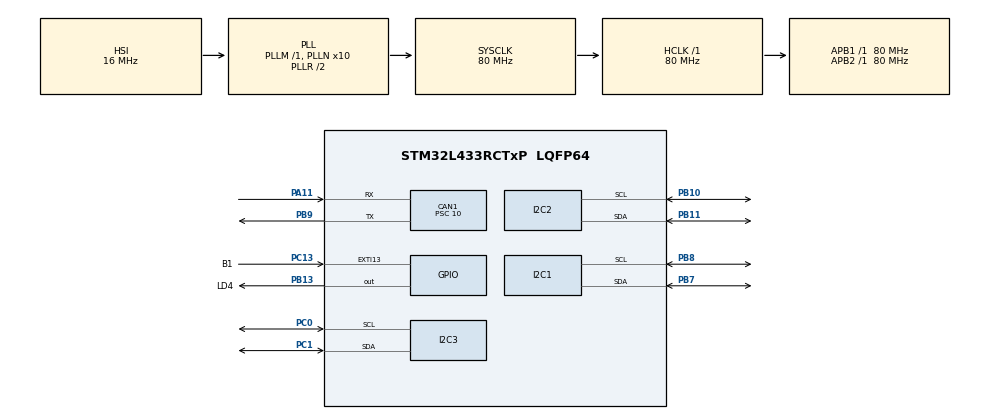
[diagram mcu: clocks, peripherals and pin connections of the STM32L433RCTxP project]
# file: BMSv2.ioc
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CAN1.BS1=CAN_BS1_13TQ
CAN1.BS2=CAN_BS2_2TQ
CAN1.CalculateBaudRate=500000
CAN1.CalculateTimeBit=2000
CAN1.CalculateTimeQuantum=125.0
CAN1.Mode=CAN_MODE_NORMAL
CAN1.NART=ENABLE
CAN1.Prescaler=10
I2C1.Timing=0x10D19CE4
I2C2.Timing=0x10D19CE4
I2C3.Timing=0x10D19CE4
Mcu.Family=STM32L4
Mcu.Name=STM32L433RCTxP
Mcu.Package=LQFP64
NVIC.CAN1_RX0_IRQn=true\:8\:0\:true\:false\:true\:true\:true\:true
NVIC.CAN1_TX_IRQn=true\:7\:0\:true\:false\:true\:true\:true\:true
NVIC.EXTI15_10_IRQn=true\:12\:0\:true\:false\:true\:true\:true\:true
NVIC.I2C1_ER_IRQn=true\:9\:0\:true\:false\:true\:true\:true\:true
NVIC.I2C1_EV_IRQn=true\:10\:0\:true\:false\:true\:true\:true\:true
NVIC.PriorityGroup=NVIC_PRIORITYGROUP_4
PA11.Mode=CAN_Activate
PA11.Signal=CAN1_RX
PA13\ (JTMS-SWDIO).GPIO_Label=TMS
PA13\ (JTMS-SWDIO).Signal=SYS_JTMS-SWDIO
PA14\ (JTCK-SWCLK).GPIO_Label=TCK
PA14\ (JTCK-SWCLK).Signal=SYS_JTCK-SWCLK
PA2.GPIO_Label=USART_TX
PA2.GPIO_Mode=GPIO_MODE_AF_PP
PA2.GPIO_PuPd=GPIO_NOPULL
PA2.GPIO_Speed=GPIO_SPEED_FREQ_VERY_HIGH
PA2.Signal=USART2_TX
PA3.GPIO_Label=USART_RX
PA3.GPIO_Mode=GPIO_MODE_AF_PP
PA3.GPIO_PuPd=GPIO_NOPULL
PA3.GPIO_Speed=GPIO_SPEED_FREQ_VERY_HIGH
PA3.Signal=USART2_RX
PB10.GPIO_Pu=GPIO_PULLUP
PB10.Mode=I2C
PB10.Signal=I2C2_SCL
PB11.GPIO_Pu=GPIO_PULLUP
PB11.Mode=I2C
PB11.Signal=I2C2_SDA
PB13.GPIO_Label=LD4
PB13.GPIO_PuPd=GPIO_NOPULL
PB13.Signal=GPIO_Output
PB3\ (JTDO-TRACESWO).GPIO_Label=SWO
PB3\ (JTDO-TRACESWO).Signal=SYS_JTDO-SWO
PB7.GPIO_Pu=GPIO_PULLUP
PB7.Mode=I2C
PB7.Signal=I2C1_SDA
PB8.GPIO_Pu=GPIO_PULLUP
PB8.Mode=I2C
PB8.Signal=I2C1_SCL
PB9.Mode=CAN_Activate
PB9.Signal=CAN1_TX
PC0.GPIO_Pu=GPIO_PULLUP
PC0.Mode=I2C
PC0.Signal=I2C3_SCL
PC1.GPIO_Pu=GPIO_PULLUP
PC1.Mode=I2C
PC1.Signal=I2C3_SDA
PC13.GPIO_Label=B1
PC13.GPIO_ModeDefaultEXTI=GPIO_MODE_IT_FALLING
PC13.GPIO_PuPd=GPIO_NOPULL
PC13.Signal=GPXTI13
PC14-OSC32_IN\ (PC14).Signal=RCC_OSC32_IN
PC15-OSC32_OUT\ (PC15).Signal=RCC_OSC32_OUT
PH0-OSC_IN\ (PH0).GPIO_Label=MCO
PH0-OSC_IN\ (PH0).Signal=RCC_OSC_IN
PH1-OSC_OUT\ (PH1).Signal=RCC_OSC_OUT
ProjectManager.HeapSize=0x200
ProjectManager.StackSize=0x400
ProjectManager.TargetToolchain=STM32CubeIDE
RCC.ADCFreq_Value=64000000
RCC.AHBFreq_Value=80000000
RCC.APB1Freq_Value=80000000
RCC.APB1TimFreq_Value=80000000
RCC.APB2Freq_Value=80000000
RCC.APB2TimFreq_Value=80000000
RCC.CortexFreq_Value=80000000
RCC.HCLKFreq_Value=80000000
RCC.HSE_VALUE=8000000
RCC.HSI48_VALUE=48000000
RCC.HSI_VALUE=16000000
RCC.LSE_VALUE=32768
RCC.MSI_VALUE=4000000
RCC.PLLN=10
RCC.PLLSourceVirtual=RCC_PLLSOURCE_HSI
RCC.PREFETCH_ENABLE=1
RCC.SYSCLKFreq_VALUE=80000000
RCC.SYSCLKSource=RCC_SYSCLKSOURCE_PLLCLK
RCC.USBFreq_Value=64000000
RCC.VCOOutputFreq_Value=160000000
board=NUCLEO-L433RC-P

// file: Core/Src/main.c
/* USER CODE BEGIN Header */
/**
 ******************************************************************************
 * @file           : main.c
 * @brief          : Main program body
 ******************************************************************************
 * @attention
 *
 * Copyright (c) 2024 STMicroelectronics.
 * All rights reserved.
 *
 * This software is licensed under terms that can be found in the LICENSE file
 * in the root directory of this software component.
 * If no LICENSE file comes with this software, it is provided AS-IS.
 *
 ******************************************************************************
 */
/* USER CODE END Header */
#include "main.h"
#include "can.h"
#include "i2c.h"
#include "gpio.h"

void SystemClock_Config(void);
/* USER CODE BEGIN PFP */
void BQ_and_can(BQ_data *BMS);
/* USER CODE END PFP */

/* USER CODE BEGIN 0 */
#ifdef USED_I2C1
BQ_data BMS_1 = {0};
bool first_transmit_1 = true;
#endif
#ifdef USED_I2C2
BQ_data BMS_2 = {0};
bool first_transmit_2 = true;
#endif
#ifdef USED_I2C3
BQ_data BMS_3 = {0};
bool first_transmit_3 = true;
#endif

bool status;

void HAL_GPIO_EXTI_Callback(uint16_t GPIO_Pin) {
	if (GPIO_Pin == B1_Pin) {
		status = !status;
		HAL_GPIO_TogglePin(LD4_GPIO_Port, LD4_Pin);
	}
}
VESC_Status_1 stat1;
VESC_Status_4 stat4;
VESC_Status_6 stat6;
VESC_RawFrame rawFrame;
extern CAN_TxHeaderTypeDef TxHeader;
extern uint32_t TxMailbox;
extern CAN_RxHeaderTypeDef RxHeader;
extern uint8_t RxData[8];
uint8_t TxData[8];
/* USER CODE END 0 */

int main(void)
{

  /* MCU Configuration--------------------------------------------------------*/

  /* Reset of all peripherals, Initializes the Flash interface and the Systick. */
  HAL_Init();

  /* Configure the system clock */
  SystemClock_Config();

  /* Initialize all configured peripherals */
  MX_GPIO_Init();
  MX_I2C1_Init();
  MX_CAN1_Init();
  MX_I2C2_Init();
  MX_I2C3_Init();
  /* USER CODE BEGIN 2 */
	status = false;
#ifdef USED_I2C1
	BQ_Init(&hi2c1);
#endif
#ifdef USED_I2C2
  BQ_Init(&hi2c2);
#endif
#ifdef USED_I2C3
  BQ_Init(&hi2c3);
#endif
  /* USER CODE END 2 */

  /* Infinite loop */
  /* USER CODE BEGIN WHILE */
	while (1) {
#ifdef USED_I2C1
		BQ_and_can(&BMS_1);
		HAL_Delay(100);
#endif
#ifdef USED_I2C2
		BQ_and_can(&BMS_2);
		HAL_Delay(100);
#endif
#ifdef USED_I2C3
		BQ_and_can(&BMS_3);
		HAL_Delay(100);
#endif
    /* USER CODE END WHILE */

	}
}

void SystemClock_Config(void)
{
  RCC_OscInitTypeDef RCC_OscInitStruct = {0};
  RCC_ClkInitTypeDef RCC_ClkInitStruct = {0};

  /** Configure the main internal regulator output voltage
  */
  if (HAL_PWREx_ControlVoltageScaling(PWR_REGULATOR_VOLTAGE_SCALE1) != HAL_OK)
  {
    Error_Handler();
  }

  /** Initializes the RCC Oscillators according to the specified parameters
  * in the RCC_OscInitTypeDef structure.
  */
  RCC_OscInitStruct.OscillatorType = RCC_OSCILLATORTYPE_HSI;
  RCC_OscInitStruct.HSIState = RCC_HSI_ON;
  RCC_OscInitStruct.HSICalibrationValue = RCC_HSICALIBRATION_DEFAULT;
  RCC_OscInitStruct.PLL.PLLState = RCC_PLL_ON;
  RCC_OscInitStruct.PLL.PLLSource = RCC_PLLSOURCE_HSI;
  RCC_OscInitStruct.PLL.PLLM = 1;
  RCC_OscInitStruct.PLL.PLLN = 10;
  RCC_OscInitStruct.PLL.PLLP = RCC_PLLP_DIV7;
  RCC_OscInitStruct.PLL.PLLQ = RCC_PLLQ_DIV2;
  RCC_OscInitStruct.PLL.PLLR = RCC_PLLR_DIV2;
  if (HAL_RCC_OscConfig(&RCC_OscInitStruct) != HAL_OK)
  {
    Error_Handler();
  }

  /** Initializes the CPU, AHB and APB buses clocks
  */
  RCC_ClkInitStruct.ClockType = RCC_CLOCKTYPE_HCLK|RCC_CLOCKTYPE_SYSCLK
                              |RCC_CLOCKTYPE_PCLK1|RCC_CLOCKTYPE_PCLK2;
  RCC_ClkInitStruct.SYSCLKSource = RCC_SYSCLKSOURCE_PLLCLK;
  RCC_ClkInitStruct.AHBCLKDivider = RCC_SYSCLK_DIV1;
  RCC_ClkInitStruct.APB1CLKDivider = RCC_HCLK_DIV1;
  RCC_ClkInitStruct.APB2CLKDivider = RCC_HCLK_DIV1;

  if (HAL_RCC_ClockConfig(&RCC_ClkInitStruct, FLASH_LATENCY_4) != HAL_OK)
  {
    Error_Handler();
  }
}

/* USER CODE BEGIN 4 */
void BQ_and_can(BQ_data *BMS) {
	I2CHelper_CheckAddress(BMS);
	if (BMS->connection == CONNECTED) {
		BQAction_UpdateData(BMS);
		BQ_GetSendData(BMS);
#ifdef USED_I2C1
		if (BMS == &BMS_1) {
			stat4.vescID = 0x90;
			stat6.vescID = 0x90;
		}
#endif
#ifdef USED_I2C2
		if(BMS == &BMS_2){
			stat4.vescID = 0x91;
		  	stat6.vescID = 0x91;
		}
#endif
#ifdef USED_I2C3
		if(BMS == &BMS_3){
			stat4.vescID = 0x92;
			stat6.vescID = 0x92;
		}
#endif
		stat4.pidPos = 0;
		stat4.currentIn = (float) (BMS->data.current) / 1000;
		stat4.tempFet = (float) (BMS->data.fet_temperature) / 10;
		stat4.tempMotor = (float) (BMS->data.cell_temperature) / 10;
		VESC_convertStatus4ToRaw(&rawFrame, &stat4);
		vesc2halcan(&TxHeader, TxData, 8, &rawFrame);
		HAL_CAN_AddTxMessage(&hcan1, &TxHeader, TxData, &TxMailbox);
		HAL_Delay(1);
		stat6.adc1 = (float) (BMS->data.voltage)/1000;
		stat6.adc2 = (float) (BMS->data.balance.Min)/1000;
		stat6.adc3 = (float) (BMS->data.balance.Max)/1000;
		stat6.ppm = (float) (BMS->data.percentage)/100;
		VESC_convertStatus6ToRaw(&rawFrame, &stat6);
		vesc2halcan(&TxHeader, TxData, 8, &rawFrame);
		if(HAL_CAN_AddTxMessage(&hcan1, &TxHeader, TxData, &TxMailbox) == HAL_OK){
			HAL_GPIO_TogglePin(LD4_GPIO_Port, LD4_Pin);
		}
		HAL_Delay(1);
	}
	stat1.erpm = 0;
	stat1.dutyCycle = 0;
	stat1.current = 1;
#ifdef USED_I2C1
	if(BMS == &BMS_1 && first_transmit_1){
		first_transmit_1 = false;
		stat1.vescID = 0x90;
		VESC_convertStatus1ToRaw(&rawFrame, &stat1);
		vesc2halcan(&TxHeader, TxData, 8, &rawFrame);
		HAL_CAN_AddTxMessage(&hcan1, &TxHeader, TxData, &TxMailbox);
	}
#endif
#ifdef USED_I2C2
	if(BMS == &BMS_2 && first_transmit_2){
		first_transmit_1 = false;
		stat1.vescID = 0x92;
		VESC_convertStatus1ToRaw(&rawFrame, &stat1);
		vesc2halcan(&TxHeader, TxData, 8, &rawFrame);
		HAL_CAN_AddTxMessage(&hcan1, &TxHeader, TxData, &TxMailbox);
	}
#endif
#ifdef USED_I2C3
	if(BMS == &BMS_3 && first_transmit_3){
		first_transmit_3 = false;
		stat1.vescID = 0x92;
		VESC_convertStatus1ToRaw(&rawFrame, &stat1);
		vesc2halcan(&TxHeader, TxData, 8, &rawFrame);
		HAL_CAN_AddTxMessage(&hcan1, &TxHeader, TxData, &TxMailbox);
	}
#endif
}

/* USER CODE END 4 */

void Error_Handler(void)
{
	__disable_irq();
	while (1) {
	}
}
